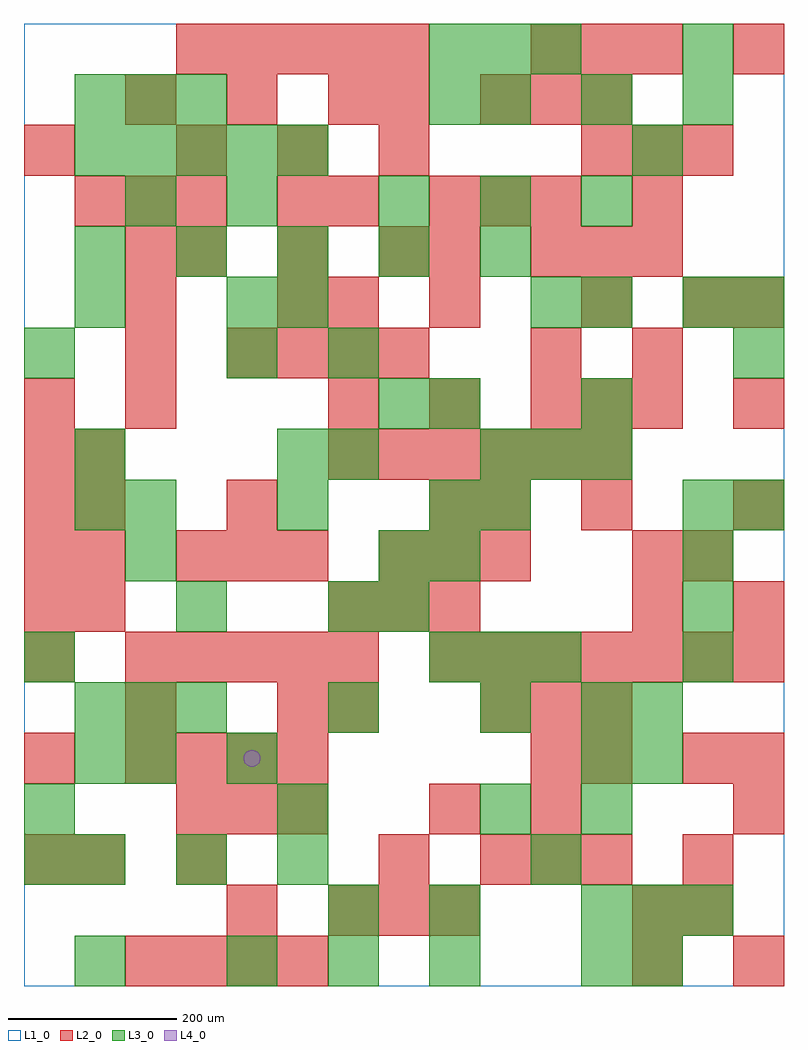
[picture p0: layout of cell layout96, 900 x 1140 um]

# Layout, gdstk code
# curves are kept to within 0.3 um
import gdstk
lib = gdstk.Library(unit=1e-6, precision=1e-09)
def R(c, l, rs):  # rectangles x0, y0, x1, y1
    for r in rs: c.add(gdstk.rectangle(r[:2], r[2:], *l))
def A(c, l, x, y, w, h, nx, ny, dx, dy):  # array of equal rectangles
    R(c, l, [(x+i*dx, y+j*dy, x+i*dx+w, y+j*dy+h) for i in range(nx) for j in range(ny)])
def P(c, l, *ps):  # polygons
    for p in ps: c.add(gdstk.Polygon(p, *l))
L1_0 = (1, 0)
L2_0 = (2, 0)
L3_0 = (3, 0)
L4_0 = (4, 0)

layout96 = lib.new_cell('layout96')
R(layout96, L1_0, [(0,0,900,1140)])
A(layout96, L2_0, 120, 0, 60, 60, 4, 2, 60, 240)
A(layout96, L2_0, 360, 60, 60, 60, 3, 2, 60, 360)
A(layout96, L2_0, 0, 120, 60, 60, 1, 3, 0, 120)
A(layout96, L2_0, 540, 120, 60, 60, 3, 2, 60, 180)
A(layout96, L2_0, 180, 180, 60, 60, 3, 2, 60, 300)
A(layout96, L2_0, 120, 360, 60, 60, 5, 1, 60, 0)
A(layout96, L2_0, 480, 360, 60, 60, 7, 1, 60, 0)
A(layout96, L2_0, 0, 420, 60, 60, 1, 5, 0, 60)
A(layout96, L2_0, 60, 420, 60, 60, 1, 4, 0, 60)
A(layout96, L2_0, 840, 420, 60, 60, 1, 4, 0, 120)
A(layout96, L2_0, 420, 480, 60, 60, 3, 1, 60, 0)
A(layout96, L2_0, 660, 540, 60, 60, 1, 3, 0, 120)
A(layout96, L2_0, 360, 600, 60, 60, 6, 1, 60, 0)
A(layout96, L2_0, 120, 660, 60, 60, 1, 4, 0, 60)
A(layout96, L2_0, 360, 660, 60, 60, 3, 1, 120, 0)
A(layout96, L2_0, 240, 720, 60, 60, 4, 1, 60, 0)
A(layout96, L2_0, 180, 840, 60, 60, 3, 2, 120, 120)
A(layout96, L2_0, 600, 840, 60, 60, 3, 2, 60, 240)
A(layout96, L2_0, 60, 900, 60, 60, 3, 1, 60, 0)
A(layout96, L2_0, 480, 900, 60, 60, 3, 1, 60, 0)
A(layout96, L2_0, 660, 960, 60, 60, 3, 1, 60, 0)
A(layout96, L2_0, 120, 1020, 60, 60, 3, 1, 120, 0)
A(layout96, L2_0, 540, 1020, 60, 60, 3, 1, 60, 0)
A(layout96, L2_0, 180, 1080, 60, 60, 5, 1, 60, 0)
R(layout96, L2_0, [(720,0,780,60), (840,0,900,60), (240,60,300,120), (720,60,780,120), (780,60,840,120), (60,120,120,180), (180,120,240,180), (420,120,480,180), (780,120,840,180), (480,180,540,240), (600,180,660,240), (840,180,900,240), (600,240,660,300), (660,240,720,300), (780,240,840,300), (840,240,900,300), (120,300,180,360), (300,300,360,360), (360,300,420,360), (720,420,780,480), (720,480,780,540), (780,480,840,540), (240,540,300,600), (480,540,540,600), (540,540,600,600), (720,660,780,720), (600,720,660,780), (720,720,780,780), (300,780,360,840), (360,780,420,840), (480,780,540,840), (780,780,840,840), (480,840,540,900), (300,900,360,960), (360,900,420,960), (720,900,780,960), (0,960,60,1020), (420,1020,480,1080), (840,1080,900,1140)])
A(layout96, L3_0, 240, 0, 60, 60, 3, 1, 120, 0)
A(layout96, L3_0, 660, 60, 60, 60, 3, 1, 60, 0)
A(layout96, L3_0, 60, 120, 60, 60, 3, 1, 120, 0)
A(layout96, L3_0, 660, 180, 60, 60, 1, 3, 0, 60)
A(layout96, L3_0, 60, 300, 60, 60, 3, 2, 60, 720)
A(layout96, L3_0, 480, 360, 60, 60, 3, 2, 60, 720)
A(layout96, L3_0, 780, 360, 60, 60, 1, 4, 0, 60)
A(layout96, L3_0, 120, 540, 60, 60, 3, 1, 180, 0)
A(layout96, L3_0, 540, 600, 60, 60, 3, 1, 60, 0)
A(layout96, L3_0, 60, 840, 60, 60, 5, 1, 120, 0)
A(layout96, L3_0, 420, 900, 60, 60, 3, 1, 120, 0)
A(layout96, L3_0, 60, 960, 60, 60, 5, 1, 60, 0)
A(layout96, L3_0, 540, 1020, 60, 60, 3, 1, 120, 0)
R(layout96, L3_0, [(60,0,120,60), (660,0,720,60), (720,0,780,60), (360,60,420,120), (480,60,540,120), (0,120,60,180), (600,120,660,180), (0,180,60,240), (300,180,360,240), (540,180,600,240), (60,240,120,300), (120,240,180,300), (240,240,300,300), (720,240,780,300), (360,300,420,360), (540,300,600,360), (720,300,780,360), (0,360,60,420), (180,420,240,480), (360,420,420,480), (420,420,480,480), (120,480,180,540), (420,480,480,540), (480,480,540,540), (60,540,120,600), (540,540,600,600), (840,540,900,600), (60,600,120,660), (300,600,360,660), (360,600,420,660), (420,660,480,720), (480,660,540,720), (660,660,720,720), (0,720,60,780), (240,720,300,780), (360,720,420,780), (840,720,900,780), (60,780,120,840), (240,780,300,840), (300,780,360,840), (600,780,660,840), (660,780,720,840), (780,780,840,840), (840,780,900,840), (120,900,180,960), (240,900,300,960), (720,960,780,1020), (480,1020,540,1080), (780,1080,840,1140)])
P(layout96, L4_0, [(280,270),(279.239,273.827),(277.071,277.071),(273.827,279.239),(270,280),(266.173,279.239),(262.929,277.071),(260.761,273.827),(260,270),(260.761,266.173),(262.929,262.929),(266.173,260.761),(270,260),(273.827,260.761),(277.071,262.929),(279.239,266.173)])

lib.write_gds('layout96.gds')
